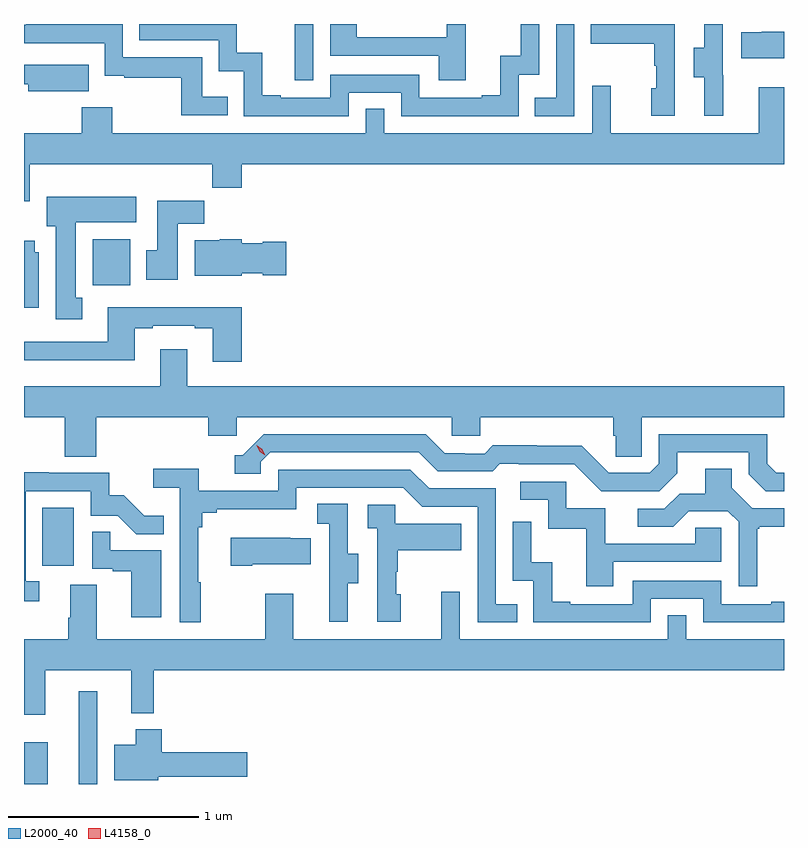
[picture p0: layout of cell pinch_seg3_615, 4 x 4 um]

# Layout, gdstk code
import gdstk
lib = gdstk.Library(unit=1e-6, precision=1e-09)
def R(c, l, rs):  # rectangles x0, y0, x1, y1
    for r in rs: c.add(gdstk.rectangle(r[:2], r[2:], *l))
def P(c, l, *ps):  # polygons
    for p in ps: c.add(gdstk.Polygon(p, *l))
L2000_40 = (2000, 40)
L4158_0 = (4158, 0)

pinch_seg3_615 = lib.new_cell('pinch_seg3_615')
R(pinch_seg3_615, L2000_40, [(1053.667,667.018,1053.793,667.237), (1053.956,667.018,1054.053,667.507), (1053.764,668.166,1053.928,668.473), (1054.028,669.644,1054.225,669.886), (1055.093,670.722,1055.19,671.018)])
P(pinch_seg3_615, L2000_40, [(1055.376,670.656),(1055.652,670.656),(1055.652,670.533),(1056.27,670.533),(1056.27,670.752),(1056.378,670.752),(1056.378,671.018),(1056.282,671.018),(1056.282,670.85),(1056.173,670.85),(1056.173,670.642),(1056.077,670.642),(1056.077,670.629),(1055.748,670.629),(1055.748,670.752),(1055.28,670.752),(1055.28,670.629),(1055.017,670.629),(1055.017,670.642),(1054.921,670.642),(1054.921,670.867),(1054.788,670.867),(1054.788,671.018),(1054.273,671.018),(1054.273,670.932),(1054.692,670.932),(1054.692,670.769),(1054.824,670.769),(1054.824,670.533),(1055.376,670.533)],
  [(1054.739,670.636),(1054.605,670.636),(1054.605,670.842),(1054.188,670.842),(1054.188,671.018),(1053.679,671.018),(1053.679,671.013),(1053.667,671.013),(1053.667,670.917),(1054.092,670.917),(1054.092,670.745),(1054.195,670.745),(1054.195,670.734),(1054.494,670.734),(1054.494,670.539),(1054.739,670.539)],
  [(1055.993,671.018),(1055.891,671.018),(1055.891,670.947),(1055.417,670.947),(1055.417,671.018),(1055.28,671.018),(1055.28,670.851),(1055.849,670.851),(1055.849,670.722),(1055.993,670.722)],
  [(1057.346,670.749),(1057.344,670.749),(1057.344,671.018),(1057.248,671.018),(1057.248,670.893),(1057.193,670.893),(1057.193,670.738),(1057.247,670.738),(1057.247,670.536),(1057.346,670.536)],
  [(1057.092,671.018),(1056.649,671.018),(1056.649,670.913),(1056.984,670.913),(1056.984,670.799),(1056.994,670.799),(1056.994,670.68),(1056.968,670.68),(1056.968,670.536),(1057.092,670.536)],
  [(1056.564,671.018),(1056.468,671.018),(1056.468,670.629),(1056.355,670.629),(1056.355,670.533),(1056.564,670.533)],
  [(1057.667,670.978),(1057.549,670.978),(1057.549,670.975),(1057.441,670.975),(1057.441,670.838),(1057.667,670.838)],
  [(1054.007,670.804),(1053.793,670.804),(1053.793,670.803),(1053.667,670.803),(1053.667,670.702),(1053.689,670.702),(1053.689,670.664),(1054.007,670.664)],
  [(1053.697,670.28),(1054.657,670.28),(1054.657,670.156),(1054.814,670.156),(1054.814,670.28),(1057.667,670.28),(1057.667,670.684),(1057.535,670.684),(1057.535,670.444),(1056.755,670.444),(1056.755,670.693),(1056.657,670.693),(1056.657,670.444),(1055.562,670.444),(1055.562,670.571),(1055.466,670.571),(1055.466,670.444),(1054.131,670.444),(1054.131,670.579),(1053.971,670.579),(1053.971,670.444),(1053.667,670.444),(1053.667,670.086),(1053.697,670.086)],
  [(1053.973,669.578),(1053.94,669.578),(1053.94,669.974),(1054.258,669.974),(1054.258,670.108),(1053.788,670.108),(1053.788,669.954),(1053.833,669.954),(1053.833,669.465),(1053.973,669.465)],
  [(1054.477,669.968),(1054.616,669.968),(1054.616,670.087),(1054.367,670.087),(1054.367,669.828),(1054.31,669.828),(1054.31,669.672),(1054.477,669.672)],
  [(1054.812,669.707),(1054.923,669.707),(1054.923,669.695),(1055.047,669.695),(1055.047,669.873),(1054.923,669.873),(1054.923,669.865),(1054.812,669.865),(1054.812,669.886),(1054.698,669.886),(1054.698,669.88),(1054.565,669.88),(1054.565,669.692),(1054.812,669.692)],
  [(1053.745,669.816),(1053.724,669.816),(1053.724,669.877),(1053.667,669.877),(1053.667,669.524),(1053.745,669.524)],
  [(1054.814,669.526),(1054.109,669.526),(1054.109,669.345),(1053.667,669.345),(1053.667,669.248),(1054.249,669.248),(1054.249,669.417),(1054.345,669.417),(1054.345,669.429),(1054.565,669.429),(1054.565,669.417),(1054.661,669.417),(1054.661,669.24),(1054.814,669.24)],
  [(1054.046,668.948),(1054.637,668.948),(1054.637,668.85),(1054.788,668.85),(1054.788,668.948),(1055.919,668.948),(1055.919,668.85),(1056.069,668.85),(1056.069,668.948),(1056.767,668.948),(1056.767,668.85),(1056.781,668.85),(1056.781,668.74),(1056.918,668.74),(1056.918,668.948),(1057.667,668.948),(1057.667,669.112),(1054.525,669.112),(1054.525,669.307),(1054.385,669.307),(1054.385,669.112),(1053.667,669.112),(1053.667,668.948),(1053.881,668.948),(1053.881,668.74),(1054.046,668.74)],
  [(1057.105,668.653),(1057.105,668.763),(1057.482,668.763),(1057.482,668.649),(1057.572,668.559),(1057.667,668.559),(1057.667,668.655),(1057.626,668.655),(1057.578,668.703),(1057.578,668.859),(1057.008,668.859),(1057.008,668.703),(1056.96,668.655),(1056.744,668.655),(1056.602,668.797),(1056.366,668.797),(1056.366,668.8),(1056.133,668.8),(1056.091,668.757),(1055.988,668.757),(1055.988,668.76),(1055.881,668.76),(1055.782,668.859),(1054.929,668.859),(1054.818,668.748),(1054.775,668.748),(1054.775,668.652),(1054.914,668.652),(1054.914,668.715),(1054.962,668.763),(1055.745,668.763),(1055.844,668.664),(1056.133,668.664),(1056.172,668.703),(1056.271,668.703),(1056.271,668.7),(1056.564,668.7),(1056.705,668.559),(1057.011,668.559)],
  [(1054.597,668.081),(1054.585,668.081),(1054.585,668.369),(1054.604,668.369),(1054.604,668.446),(1054.681,668.446),(1054.681,668.465),(1055.1,668.465),(1055.1,668.577),(1055.664,668.577),(1055.763,668.478),(1056.054,668.478),(1056.054,667.869),(1056.263,667.869),(1056.263,667.965),(1056.15,667.965),(1056.15,668.574),(1055.8,668.574),(1055.701,668.673),(1055.004,668.673),(1055.004,668.562),(1054.586,668.562),(1054.586,668.678),(1054.347,668.678),(1054.347,668.576),(1054.488,668.576),(1054.488,667.869),(1054.597,667.869)],
  [(1057.525,668.361),(1057.537,668.361),(1057.537,668.372),(1057.667,668.372),(1057.667,668.469),(1057.5,668.469),(1057.393,668.576),(1057.393,668.678),(1057.253,668.678),(1057.253,668.546),(1057.118,668.546),(1057.038,668.466),(1056.897,668.466),(1056.897,668.373),(1057.084,668.373),(1057.165,668.454),(1057.371,668.454),(1057.428,668.397),(1057.428,668.058),(1057.525,668.058)],
  [(1053.748,668.085),(1053.675,668.085),(1053.675,668.559),(1054.017,668.559),(1054.017,668.43),(1054.161,668.43),(1054.259,668.332),(1054.403,668.332),(1054.403,668.431),(1054.299,668.431),(1054.192,668.538),(1054.116,668.538),(1054.116,668.655),(1053.797,668.655),(1053.797,668.66),(1053.667,668.66),(1053.667,667.98),(1053.748,667.98)],
  [(1056.769,668.187),(1057.338,668.187),(1057.338,668.367),(1057.201,668.367),(1057.201,668.283),(1056.727,668.283),(1056.727,668.469),(1056.522,668.469),(1056.522,668.61),(1056.279,668.61),(1056.279,668.514),(1056.426,668.514),(1056.426,668.361),(1056.625,668.361),(1056.625,668.058),(1056.769,668.058)],
  [(1055.371,668.074),(1055.425,668.074),(1055.425,668.229),(1055.37,668.229),(1055.37,668.492),(1055.211,668.492),(1055.211,668.389),(1055.274,668.389),(1055.274,668.085),(1055.273,668.085),(1055.273,667.872),(1055.371,667.872)],
  [(1055.65,668.016),(1055.625,668.016),(1055.625,668.135),(1055.635,668.135),(1055.635,668.249),(1055.969,668.249),(1055.969,668.389),(1055.622,668.389),(1055.622,668.487),(1055.475,668.487),(1055.475,668.363),(1055.526,668.363),(1055.526,667.872),(1055.65,667.872)],
  [(1056.966,667.992),(1057.242,667.992),(1057.242,667.869),(1057.667,667.869),(1057.667,667.978),(1057.601,667.978),(1057.601,667.965),(1057.338,667.965),(1057.338,668.088),(1056.87,668.088),(1056.87,667.965),(1056.541,667.965),(1056.541,667.978),(1056.446,667.978),(1056.446,668.186),(1056.336,668.186),(1056.336,668.398),(1056.24,668.398),(1056.24,668.088),(1056.348,668.088),(1056.348,667.869),(1056.966,667.869)],
  [(1054.39,668.247),(1054.121,668.247),(1054.121,668.345),(1054.026,668.345),(1054.026,668.151),(1054.133,668.151),(1054.133,668.139),(1054.232,668.139),(1054.232,667.896),(1054.39,667.896)],
  [(1054.867,668.174),(1055.177,668.174),(1055.177,668.311),(1055.069,668.311),(1055.069,668.314),(1054.755,668.314),(1054.755,668.167),(1054.867,668.167)],
  [(1057.056,667.907),(1057.056,667.78),(1055.961,667.78),(1055.961,668.029),(1055.864,668.029),(1055.864,667.78),(1055.083,667.78),(1055.083,668.02),(1054.936,668.02),(1054.936,667.78),(1054.051,667.78),(1054.051,668.066),(1053.911,668.066),(1053.911,667.892),(1053.899,667.892),(1053.899,667.78),(1053.667,667.78),(1053.667,667.383),(1053.779,667.383),(1053.779,667.616),(1054.232,667.616),(1054.232,667.391),(1054.349,667.391),(1054.349,667.616),(1057.667,667.616),(1057.667,667.78),(1057.152,667.78),(1057.152,667.907)],
  [(1054.374,667.055),(1054.843,667.055),(1054.843,667.185),(1054.391,667.185),(1054.391,667.306),(1054.256,667.306),(1054.256,667.225),(1054.142,667.225),(1054.142,667.037),(1054.374,667.037)])
P(pinch_seg3_615, L4158_0, [(1054.937,668.748),(1054.907,668.768),(1054.892,668.801),(1054.892,668.802),(1054.892,668.802),(1054.922,668.781),(1054.937,668.748),(1054.937,668.748)])

lib.write_gds('pinch_seg3_615.gds')
